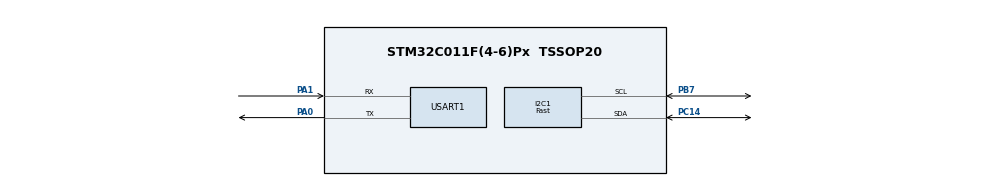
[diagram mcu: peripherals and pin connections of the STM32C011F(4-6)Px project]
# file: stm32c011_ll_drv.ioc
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Dma.MEMTOMEM.0.Direction=DMA_MEMORY_TO_MEMORY
Dma.MEMTOMEM.0.EventEnable=DISABLE
Dma.MEMTOMEM.0.Instance=DMA1_Channel1
Dma.MEMTOMEM.0.MemDataAlignment=DMA_MDATAALIGN_WORD
Dma.MEMTOMEM.0.MemInc=DMA_MINC_ENABLE
Dma.MEMTOMEM.0.Mode=DMA_NORMAL
Dma.MEMTOMEM.0.PeriphDataAlignment=DMA_PDATAALIGN_WORD
Dma.MEMTOMEM.0.PeriphInc=DMA_PINC_ENABLE
Dma.MEMTOMEM.0.Polarity=HAL_DMAMUX_REQ_GEN_RISING
Dma.MEMTOMEM.0.Priority=DMA_PRIORITY_LOW
Dma.MEMTOMEM.0.RequestNumber=1
Dma.MEMTOMEM.0.SignalID=NONE
Dma.MEMTOMEM.0.SyncEnable=DISABLE
Dma.MEMTOMEM.0.SyncPolarity=HAL_DMAMUX_SYNC_NO_EVENT
Dma.MEMTOMEM.0.SyncRequestNumber=1
Dma.MEMTOMEM.0.SyncSignalID=NONE
Dma.Request0=MEMTOMEM
I2C1.I2C_Speed_Mode=I2C_Fast
I2C1.Timing=0x0090194B
Mcu.Family=STM32C0
Mcu.Name=STM32C011F(4-6)Px
Mcu.Package=TSSOP20
NVIC.DMA1_Channel1_IRQn=true\:0\:0\:false\:false\:true\:true\:true\:true
NVIC.I2C1_IRQn=true\:0\:0\:false\:false\:true\:true\:true\:true
NVIC.TIM14_IRQn=true\:0\:0\:false\:false\:true\:true\:true\:true
NVIC.TIM16_IRQn=true\:0\:0\:false\:false\:true\:true\:true\:true
NVIC.TIM17_IRQn=true\:0\:0\:false\:false\:true\:true\:true\:true
NVIC.USART1_IRQn=true\:0\:0\:false\:false\:true\:true\:true\:true
PA0.Mode=Asynchronous
PA0.Signal=USART1_TX
PA1.Mode=Asynchronous
PA1.Signal=USART1_RX
PA13.Mode=Serial_Wire
PA13.Signal=DEBUG_SWDIO
PA14-BOOT0.Mode=Serial_Wire
PA14-BOOT0.Signal=DEBUG_SWCLK
PB7.GPIO_FM7=SYSCFG_FASTMODEPLUS_PB7
PB7.GPIO_Pu=GPIO_PULLUP
PB7.GPIO_Speed=GPIO_SPEED_FREQ_LOW
PB7.Mode=I2C
PB7.Signal=I2C1_SCL
PC14-OSCX_IN\ (PC14).GPIO_FMPC14=SYSCFG_FASTMODEPLUS_PC14
PC14-OSCX_IN\ (PC14).GPIO_Pu=GPIO_PULLUP
PC14-OSCX_IN\ (PC14).Mode=I2C
PC14-OSCX_IN\ (PC14).Signal=I2C1_SDA
ProjectManager.HeapSize=0x100
ProjectManager.StackSize=0x300
ProjectManager.TargetToolchain=CMake
RCC.ADCFreq_Value=48000000
RCC.AHBFreq_Value=48000000
RCC.CortexFreq_Value=48000000
RCC.EXTERNAL_CLOCK_VALUE=12288000
RCC.HCLKFreq_Value=48000000
RCC.HSE_VALUE=8000000
RCC.HSISYSCLKDivider=RCC_HSI_DIV1
RCC.HSI_VALUE=48000000
RCC.LSE_VALUE=32768
RCC.SYSCLKFreq_VALUE=48000000
USART1.VirtualMode-Asynchronous=VM_ASYNC
VP_TIM14_VS_ClockSourceINT.Mode=Enable_Timer
VP_TIM16_VS_ClockSourceINT.Mode=Enable_Timer
VP_TIM17_VS_ClockSourceINT.Mode=Enable_Timer
board=custom

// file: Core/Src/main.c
/* USER CODE BEGIN Header */
/**
  ******************************************************************************
  * @file           : main.c
  * @brief          : Main program body
  ******************************************************************************
  * @attention
  *
  * Copyright (c) 2025 STMicroelectronics.
  * All rights reserved.
  *
  * This software is licensed under terms that can be found in the LICENSE file
  * in the root directory of this software component.
  * If no LICENSE file comes with this software, it is provided AS-IS.
  *
  ******************************************************************************
  */
/* USER CODE END Header */
#include "main.h"
#include "dma.h"
#include "i2c.h"
#include "stm32c011xx.h"
#include "stm32c0xx_ll_cortex.h"
#include "tim.h"
#include "usart.h"
#include "gpio.h"

/* USER CODE BEGIN Includes */
#include "app_main.h"

#ifdef DBG_TEST
#include "debug_test.h"
#endif // DBG_TEST

/* USER CODE END Includes */

void SystemClock_Config(void);

int main(void)
{

  /* MCU Configuration--------------------------------------------------------*/

  /* Reset of all peripherals, Initializes the Flash interface and the Systick. */
  HAL_Init();

  /* Configure the system clock */
  SystemClock_Config();

  /* USER CODE BEGIN SysInit */
#if 0
  /* USER CODE END SysInit */

  /* Initialize all configured peripherals */
  MX_GPIO_Init();
  MX_DMA_Init();
  MX_I2C1_Init();
  MX_TIM14_Init();
  MX_TIM16_Init();
  MX_TIM17_Init();
  MX_USART1_UART_Init();
  /* USER CODE BEGIN 2 */
#else
  MX_GPIO_Init();
  // MX_I2C1_Init();
  // MX_TIM14_Init();
  // MX_TIM16_Init();
  // MX_TIM17_Init();

  #ifdef DMA_TEST
    MX_DMA_Init();
  #endif // DMA_TEST

  #ifdef DBG_USE_UART
    MX_USART1_UART_Init();
  #endif // DBG_USE_UART
#endif

  // アプリメイン初期化
  app_main_init();
  /* USER CODE END 2 */

  /* Infinite loop */
  while (1)
  {

    /* USER CODE BEGIN 3 */
    // アプリメイン
    app_main();
  }
  /* USER CODE END 3 */
}

void SystemClock_Config(void)
{

  LL_FLASH_SetLatency(LL_FLASH_LATENCY_1);

  /* HSI configuration and activation */
  LL_RCC_HSI_Enable();
  while(LL_RCC_HSI_IsReady() != 1)
  {
  }

  LL_RCC_HSI_SetCalibTrimming(64);
  LL_RCC_SetHSIDiv(LL_RCC_HSI_DIV_1);
  /* Set AHB prescaler*/
  LL_RCC_SetAHBPrescaler(LL_RCC_HCLK_DIV_1);

  /* Sysclk activation on the HSI */
  LL_RCC_SetSysClkSource(LL_RCC_SYS_CLKSOURCE_HSI);
  while(LL_RCC_GetSysClkSource() != LL_RCC_SYS_CLKSOURCE_STATUS_HSI)
  {
  }

  /* Set APB1 prescaler*/
  LL_RCC_SetAPB1Prescaler(LL_RCC_APB1_DIV_1);
  /* Update CMSIS variable (which can be updated also through SystemCoreClockUpdate function) */
  LL_SetSystemCoreClock(48000000);

   /* Update the time base */
  if (HAL_InitTick (TICK_INT_PRIORITY) != HAL_OK)
  {
    Error_Handler();
  }
}

void Error_Handler(void)
{
  __disable_irq();
  while (1)
  {
  }
}
